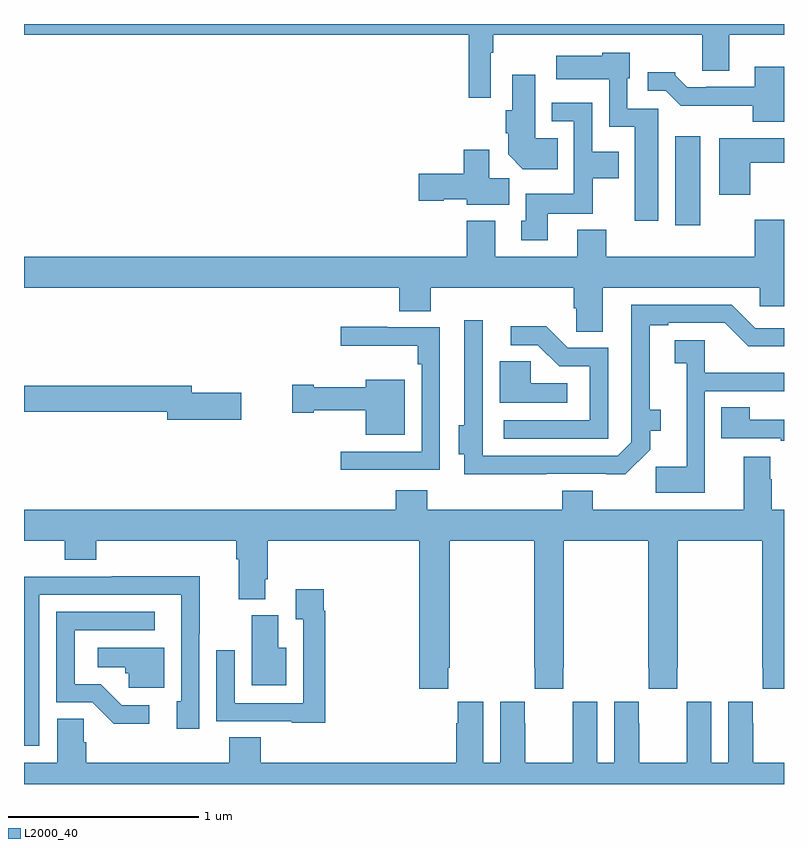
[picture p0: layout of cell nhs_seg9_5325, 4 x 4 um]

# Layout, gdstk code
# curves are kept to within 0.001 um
import gdstk
lib = gdstk.Library(unit=1e-6, precision=1e-09)
def R(c, l, rs):  # rectangles x0, y0, x1, y1
    for r in rs: c.add(gdstk.rectangle(r[:2], r[2:], *l))
def P(c, l, *ps):  # polygons
    for p in ps: c.add(gdstk.Polygon(p, *l))
L2000_40 = (2000, 40)

nhs_seg9_5325 = lib.new_cell('nhs_seg9_5325')
R(nhs_seg9_5325, L2000_40, [(424.427,1171.44,424.558,1171.909)])
P(nhs_seg9_5325, L2000_40, [(423.456,1172.348),(423.469,1172.348),(423.469,1172.444),(424.571,1172.444),(424.571,1172.254),(424.711,1172.254),(424.711,1172.444),(425,1172.444),(425,1172.5),(421,1172.5),(421,1172.444),(423.34,1172.444),(423.34,1172.112),(423.456,1172.112)],
  [(424.339,1172.055),(424.176,1172.055),(424.176,1172.214),(424.189,1172.214),(424.189,1172.35),(424.044,1172.35),(424.044,1172.332),(423.801,1172.332),(423.801,1172.21),(424.08,1172.21),(424.08,1171.958),(424.214,1171.958),(424.214,1171.464),(424.339,1171.464)],
  [(425,1172.275),(424.847,1172.275),(424.847,1172.169),(424.591,1172.169),(424.591,1172.166),(424.492,1172.166),(424.428,1172.23),(424.428,1172.245),(424.284,1172.245),(424.284,1172.148),(424.377,1172.148),(424.456,1172.07),(424.835,1172.07),(424.835,1171.985),(425,1171.985)],
  [(423.809,1171.9),(423.691,1171.9),(423.691,1172.233),(423.569,1172.233),(423.569,1172.046),(423.536,1172.046),(423.536,1171.924),(423.548,1171.924),(423.548,1171.814),(423.626,1171.736),(423.809,1171.736)],
  [(423.757,1171.502),(423.993,1171.502),(423.993,1171.688),(424.129,1171.688),(424.129,1171.828),(423.99,1171.828),(423.99,1172.085),(423.777,1172.085),(423.777,1171.989),(423.894,1171.989),(423.894,1171.606),(423.641,1171.606),(423.641,1171.464),(423.617,1171.464),(423.617,1171.362),(423.757,1171.362)],
  [(424.822,1171.771),(425,1171.771),(425,1171.9),(424.658,1171.9),(424.658,1171.602),(424.822,1171.602)],
  [(423.553,1171.688),(423.448,1171.688),(423.448,1171.837),(423.314,1171.837),(423.314,1171.712),(423.078,1171.712),(423.078,1171.57),(423.21,1171.57),(423.21,1171.577),(423.33,1171.577),(423.33,1171.55),(423.553,1171.55)],
  [(423.893,1171.003),(423.906,1171.003),(423.906,1170.88),(424.045,1170.88),(424.045,1171.112),(424.872,1171.112),(424.872,1171.014),(425,1171.014),(425,1171.471),(424.847,1171.471),(424.847,1171.276),(424.064,1171.276),(424.064,1171.417),(423.911,1171.417),(423.911,1171.276),(423.481,1171.276),(423.481,1171.465),(423.329,1171.465),(423.329,1171.276),(421,1171.276),(421,1171.112),(422.975,1171.112),(422.975,1170.988),(423.14,1170.988),(423.14,1171.112),(423.893,1171.112)],
  [(423.749,1170.132),(424.165,1170.131),(424.295,1170.26),(424.295,1170.359),(424.351,1170.359),(424.351,1170.469),(424.294,1170.469),(424.294,1170.915),(424.39,1170.915),(424.39,1170.927),(424.688,1170.927),(424.812,1170.803),(425,1170.803),(425,1170.9),(424.848,1170.9),(424.725,1171.023),(424.197,1171.023),(424.197,1170.3),(424.125,1170.228),(423.414,1170.228),(423.414,1170.94),(423.318,1170.94),(423.318,1170.389),(423.287,1170.389),(423.287,1170.236),(423.318,1170.236),(423.318,1170.131)],
  [(424.074,1170.795),(423.861,1170.795),(423.748,1170.908),(423.561,1170.908),(423.561,1170.81),(423.705,1170.81),(423.816,1170.699),(423.978,1170.699),(423.978,1170.414),(423.525,1170.414),(423.525,1170.318),(424.074,1170.318)],
  [(423.189,1170.903),(422.911,1170.903),(422.911,1170.907),(422.667,1170.907),(422.667,1170.806),(423.073,1170.806),(423.073,1170.71),(423.093,1170.71),(423.093,1170.249),(422.667,1170.249),(422.667,1170.153),(423.189,1170.153)],
  [(424.584,1170.567),(425,1170.567),(425,1170.664),(424.584,1170.664),(424.584,1170.835),(424.425,1170.835),(424.425,1170.714),(424.487,1170.714),(424.487,1170.171),(424.326,1170.171),(424.326,1170.032),(424.584,1170.032)],
  [(423.859,1170.61),(423.667,1170.61),(423.667,1170.725),(423.503,1170.725),(423.503,1170.506),(423.859,1170.506)],
  [(423.004,1170.628),(422.798,1170.628),(422.798,1170.589),(422.524,1170.589),(422.524,1170.602),(422.412,1170.602),(422.412,1170.455),(422.524,1170.455),(422.524,1170.467),(422.798,1170.467),(422.798,1170.338),(423.004,1170.338)],
  [(422.143,1170.56),(421.882,1170.56),(421.882,1170.596),(421,1170.596),(421,1170.46),(421.754,1170.46),(421.754,1170.418),(422.143,1170.418)],
  [(425,1170.417),(424.821,1170.417),(424.821,1170.482),(424.669,1170.482),(424.669,1170.321),(424.982,1170.321),(424.982,1170.306),(425,1170.306)],
  [(421,1169.78),(421.214,1169.78),(421.214,1169.681),(421.379,1169.681),(421.379,1169.78),(422.117,1169.78),(422.117,1169.684),(422.129,1169.684),(422.129,1169.473),(422.269,1169.473),(422.269,1169.578),(422.282,1169.578),(422.282,1169.78),(423.08,1169.78),(423.08,1169.001),(423.233,1169.001),(423.233,1169.113),(423.24,1169.113),(423.24,1169.78),(423.685,1169.78),(423.685,1169.113),(423.687,1169.113),(423.687,1169.001),(423.837,1169.001),(423.837,1169.113),(423.84,1169.113),(423.84,1169.78),(424.285,1169.78),(424.285,1169.113),(424.287,1169.113),(424.287,1169.001),(424.437,1169.001),(424.437,1169.113),(424.44,1169.113),(424.44,1169.78),(424.885,1169.78),(424.885,1169.113),(424.887,1169.113),(424.887,1169.001),(425,1169.001),(425,1169.944),(424.935,1169.944),(424.935,1170.104),(424.927,1170.104),(424.927,1170.223),(424.787,1170.223),(424.787,1169.944),(423.993,1169.944),(423.993,1170.043),(423.833,1170.043),(423.833,1169.944),(423.122,1169.944),(423.122,1170.046),(422.957,1170.046),(422.957,1169.944),(421,1169.944)],
  [(421.08,1169.496),(421.827,1169.496),(421.827,1168.935),(421.805,1168.935),(421.805,1168.791),(421.923,1168.791),(421.923,1169.29),(421.925,1169.29),(421.925,1169.594),(421.462,1169.594),(421.462,1169.592),(421,1169.592),(421,1168.701),(421.08,1168.701)],
  [(422.585,1169.411),(422.578,1169.411),(422.578,1169.524),(422.429,1169.524),(422.429,1169.368),(422.469,1169.368),(422.469,1168.926),(422.109,1168.926),(422.109,1169.203),(422.013,1169.203),(422.013,1168.83),(422.409,1168.83),(422.409,1168.823),(422.585,1168.823)],
  [(421.66,1168.914),(421.515,1168.914),(421.404,1169.025),(421.266,1169.025),(421.266,1169.31),(421.687,1169.31),(421.687,1169.406),(421.17,1169.406),(421.17,1168.929),(421.359,1168.929),(421.472,1168.817),(421.66,1168.817)],
  [(422.38,1169.218),(422.338,1169.218),(422.338,1169.388),(422.198,1169.388),(422.198,1169.021),(422.38,1169.021)],
  [(421.738,1169.218),(421.389,1169.218),(421.389,1169.114),(421.532,1169.114),(421.532,1169.082),(421.551,1169.082),(421.551,1169.007),(421.738,1169.007)],
  [(425,1168.612),(424.837,1168.612),(424.837,1168.82),(424.836,1168.82),(424.836,1168.933),(424.706,1168.933),(424.706,1168.612),(424.618,1168.612),(424.618,1168.933),(424.488,1168.933),(424.488,1168.82),(424.487,1168.82),(424.487,1168.612),(424.237,1168.612),(424.237,1168.82),(424.236,1168.82),(424.236,1168.933),(424.106,1168.933),(424.106,1168.612),(424.018,1168.612),(424.018,1168.933),(423.888,1168.933),(423.888,1168.82),(423.887,1168.82),(423.887,1168.612),(423.637,1168.612),(423.637,1168.82),(423.636,1168.82),(423.636,1168.933),(423.506,1168.933),(423.506,1168.612),(423.418,1168.612),(423.418,1168.933),(423.284,1168.933),(423.284,1168.82),(423.275,1168.82),(423.275,1168.612),(422.246,1168.612),(422.246,1168.745),(422.081,1168.745),(422.081,1168.612),(421.328,1168.612),(421.328,1168.721),(421.314,1168.721),(421.314,1168.844),(421.175,1168.844),(421.175,1168.612),(421,1168.612),(421,1168.5),(425,1168.5)])

lib.write_gds('nhs_seg9_5325.gds')
